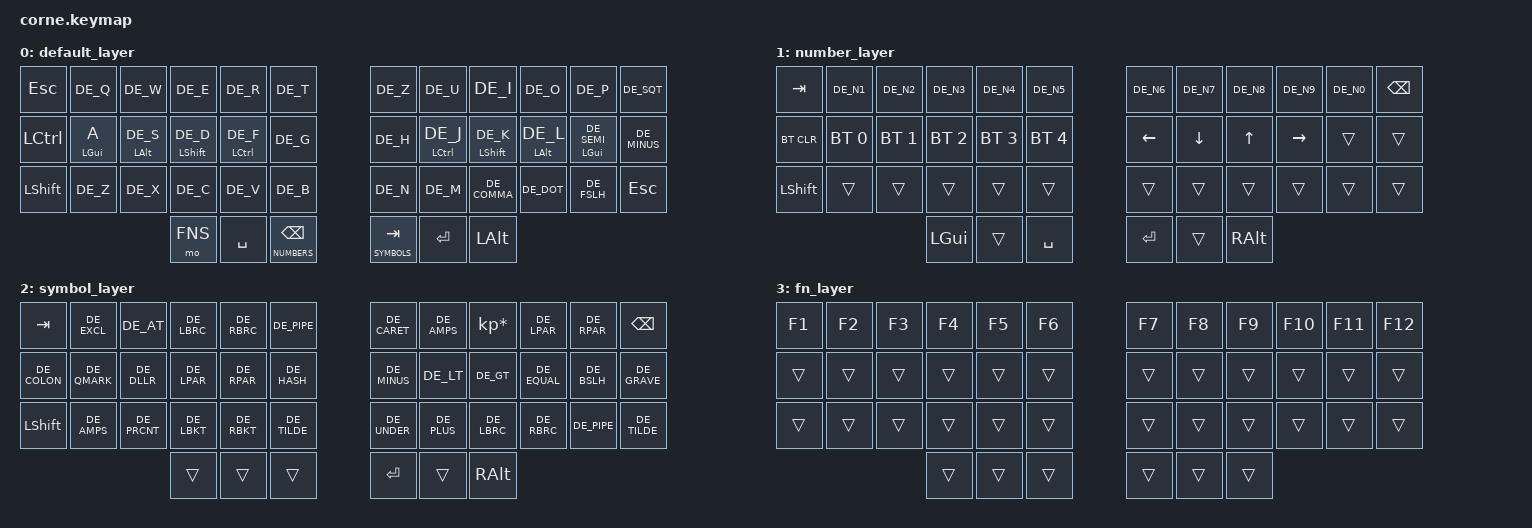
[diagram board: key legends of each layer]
/*
 * Copyright (c) 2020 The ZMK Contributors
 *
 * SPDX-License-Identifier: MIT
 */

/*
 * This is my personal ZMK config for the corne v1
 */

#include <behaviors.dtsi>
#include <dt-bindings/zmk/keys.h>
#include <dt-bindings/zmk/bt.h>
#include <dt-bindings/zmk/outputs.h>
#include "keys_de.h"

#define DEFAULT 0
#define NUMBERS 1
#define SYMBOLS 2
#define FNS     3

&mt {
        tapping-term-ms = <300>;
};
&lt {
        tapping-term-ms = <300>;
};

/ {
        keymap {
                compatible = "zmk,keymap";
// Z  = Y because of german layout, so we are actually qwertz
                default_layer {
// -----------------------------------------------------------------------------------------
// | ESC  |  Q  |  W  |  E  |  R  |  T   |                        |  Z  |  U   |  I  |  O  |  P  |  '   |
// | CTRL |  A  |  S  |  D  |  F  |  G   |                        |  H  |  J   |  K  |  L  |  ;  |  -   |
// | SHFT |  Y  |  X  |  C  |  V  |  B   |                        |  N  |  M   |  ,  |  .  |  /  | ESC  |
//                    | FNS | SPC | NUM BSPC |                    | TAB | ENT  | ALT |  
                        bindings = <
   &kp ESC   &kp DE_Q   &kp DE_W      &kp DE_E        &kp DE_R       &kp DE_T         &kp DE_Z        &kp DE_U        &kp DE_I            &kp DE_O        &kp DE_P         &kp DE_SQT
   &kp LCTRL &mt LGUI A &mt LALT DE_S &mt LSHIFT DE_D &mt LCTRL DE_F &kp DE_G         &kp DE_H        &mt LCTRL DE_J  &mt LSHIFT DE_K     &mt LALT DE_L   &mt LGUI DE_SEMI &kp DE_MINUS
   &kp LSHFT &kp DE_Z   &kp DE_X      &kp DE_C        &kp DE_V       &kp DE_B         &kp DE_N        &kp DE_M        &kp DE_COMMA        &kp DE_DOT      &kp DE_FSLH      &kp ESC
                  &mo FNS &kp SPACE &lt NUMBERS BSPC                                  &lt SYMBOLS TAB &kp RET         &kp LALT
                        >;
                };
                number_layer {
// -----------------------------------------------------------------------------------------
// |  TAB |  1  |  2  |  3  |  4  |  5  |   |  6  |  7  |  8  |  9  |  0  | BKSP |
// | BTCLR| BT1 | BT2 | BT3 | BT4 | BT5 |   | LFT | DWN |  UP | RGT |     |      |
// | SHFT |     |     |     |     |     |   |     |     |     |     |     |      |
//                    | GUI |     | SPC |   | ENT |     | ALT |
                        bindings = <
   &kp TAB    &kp DE_N1    &kp DE_N2    &kp DE_N3    &kp DE_N4    &kp DE_N5      &kp DE_N6  &kp DE_N7  &kp DE_N8  &kp DE_N9  &kp DE_N0 &kp BSPC
   &bt BT_CLR &bt BT_SEL 0 &bt BT_SEL 1 &bt BT_SEL 2 &bt BT_SEL 3 &bt BT_SEL 4   &kp LEFT   &kp DOWN   &kp UP     &kp RIGHT  &trans    &trans
   &kp LSHFT  &trans       &trans       &trans       &trans       &trans         &trans     &trans     &trans     &trans     &trans    &trans
                                    &kp LGUI     &trans       &kp SPACE          &kp RET  &trans       &kp RALT
                        >;
                };

                symbol_layer {
// -----------------------------------------------------------------------------------------
// |  TAB |  !  |  @  |  {  |  }  | "|" |   |  ^  |  &  |  *  |  (  |  )  | BKSP |
// |  :   |  ?  |  $  |  (  |  )  |  #  |   |  -  |  <  |  >  |  =  |  \  |  `   |
// | SHFT |  &  |  %  |  [  |  ]  |  ~  |   |  _  |  +  |  {  |  }  | "|" |  ~   |
//                    |     |     |     |   | ENT |     | ALT |
                        bindings = <
   &kp  TAB     &kp DE_EXCL  &kp DE_AT     &kp DE_LBRC &kp DE_RBRC &kp DE_PIPE     &kp DE_CARET &kp DE_AMPS  &kp KP_MULTIPLY &kp DE_LPAR  &kp DE_RPAR &kp BSPC
   &kp DE_COLON &kp DE_QMARK &kp DE_DLLR   &kp DE_LPAR &kp DE_RPAR &kp DE_HASH     &kp DE_MINUS &kp DE_LT    &kp DE_GT       &kp DE_EQUAL &kp DE_BSLH &kp DE_GRAVE
   &kp LSHFT    &kp DE_AMPS  &kp DE_PRCNT  &kp DE_LBKT &kp DE_RBKT &kp DE_TILDE    &kp DE_UNDER &kp DE_PLUS  &kp DE_LBRC     &kp DE_RBRC  &kp DE_PIPE &kp DE_TILDE
                                  &trans   &trans   &trans       &kp RET   &trans    &kp RALT
                        >;
                };

                fn_layer {
// -----------------------------------------------------------------------------------------
// |  F1  |  F2  |  F3  |  F4  |  F5  |  F6  |                 |  F7  |  F8  |  F9  |  F10  |  F11  |  F12  | 
                        bindings = <
   &kp F1  &kp F2  &kp F3  &kp F4  &kp F5  &kp F6               &kp F7  &kp F8  &kp F9  &kp F10 &kp F11 &kp F12
   &trans  &trans  &trans  &trans  &trans  &trans               &trans  &trans  &trans  &trans  &trans  &trans
   &trans  &trans  &trans  &trans  &trans  &trans               &trans  &trans  &trans  &trans  &trans  &trans
                           &trans  &trans  &trans               &trans  &trans  &trans
                        >;
                };
        };
};
